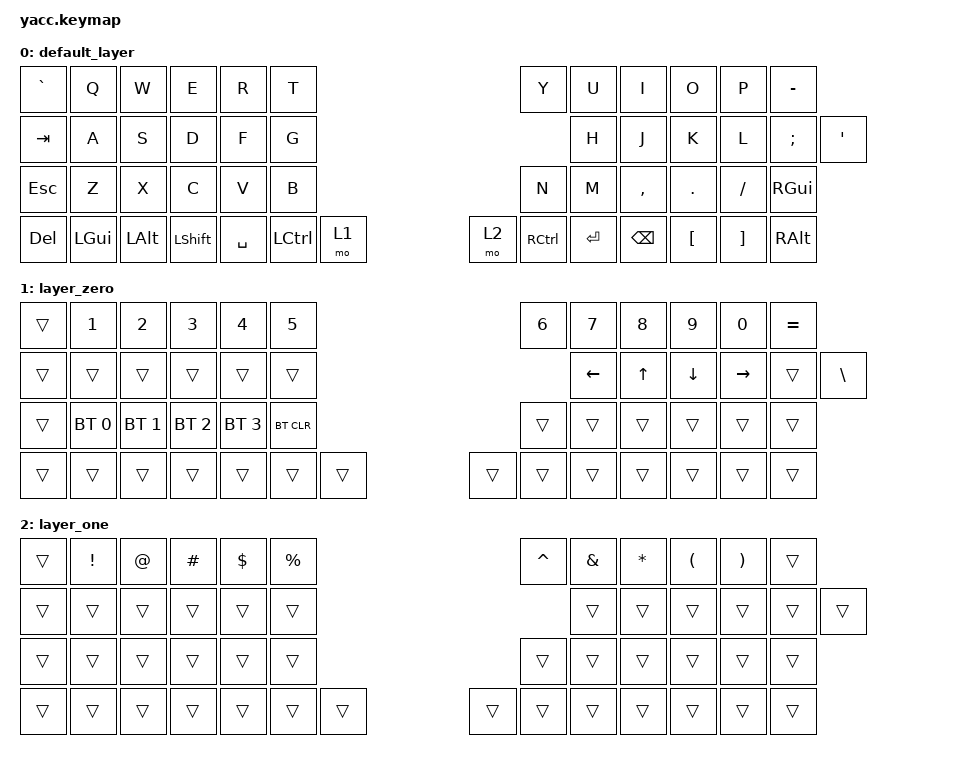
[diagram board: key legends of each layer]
#include <behaviors.dtsi>
#include <dt-bindings/zmk/keys.h>
#include <dt-bindings/zmk/bt.h>
#include <dt-bindings/zmk/ext_power.h>

/ {
        keymap {
            compatible = "zmk,keymap";

            default_layer {
// | `|~ |  q  |  w  |  e  |  r  |  t  |                                        |  y  |  u  |  i  |  o  |  p  | -|_ |
// | TAB |  a  |  s  |  d  |  f  |  g  |                                        |  h  |  j  |  k  |  l  | ;|: | '|" |
// | ESC |  z  |  x  |  c  |  v  |  b  |                                        |  n  |  m  | ,|< | .|> | /|? | GUI |
// | DEL | GUI | ALT | SFT | SPC | CTL | MO1 |                            | MO2 | CTL | ENT | BPC | [|{ | ]|} | ALT |
            
            bindings = <
&kp GRAVE &kp  Q  &kp  W  &kp  E  &kp  R  &kp  T                                  &kp  Y  &kp  U  &kp  I  &kp  O  &kp  P  &kp MINUS
&kp TAB   &kp  A  &kp  S  &kp  D  &kp  F  &kp  G                                  &kp  H  &kp  J  &kp  K  &kp  L  &kp SEMI &kp SQT    
&kp ESC   &kp  Z  &kp  X  &kp  C  &kp  V  &kp  B                                  &kp  N  &kp  M  &kp COMMA &kp DOT &kp FSLH &kp RGUI    
&kp DEL &kp LGUI &kp LALT &kp LSHIFT &kp SPACE &kp LCTRL &mo 1          &mo 2     &kp RCTL &kp RET &kp BSPC &kp LBKT &kp RBKT &kp RALT    

        >;
        };

        layer_zero {
// | ___ | _1_ | _2_ | _3_ | _4_ | _5_ |                                        | _6_ | _7_ | _8_ | _9_ | _0_ | =|+ |
// | ___ | ___ | ___ | ___ | ___ | ___ |                                        | < - | _^_ | _v_ | - > | ___ | \|| |
// | ___ | BT0 | BT1 | BT2 | BT3 | BTC |                                        | ___ | ___ | ___ | ___ | ___ | ___ |
// | ___ | ___ | ___ | ___ | ___ | ___ | ___ |                            | ___ | ___ | ___ | ___ | ___ | ___ | ___ |
            
            bindings = <
&trans &kp N1 &kp N2 &kp N3 &kp N4 &kp N5                             &kp N6 &kp N7 &kp N8 &kp N9 &kp N0 &kp EQUAL
&trans &trans &trans &trans &trans &trans                             &kp LEFT &kp UP &kp DOWN &kp RIGHT &trans &kp BSLH    
&trans &bt BT_SEL 0 &bt BT_SEL 1 &bt BT_SEL 2 &bt BT_SEL 3 &bt BT_CLR &trans &trans &trans &trans &trans &trans
&trans &trans &trans &trans &trans &trans &trans               &trans &trans &trans &trans &trans &trans &trans    

        >;
        };

        layer_one {
// | ___ | _!_ | _@_ | _#_ | _$_ | _%_ |                                        | _^_ | _&_ | _*_ | _(_ | _)_ | ___ |
// | ___ | ___ | ___ | ___ | ___ | ___ |                                        | ___ | ___ | ___ | ___ | ___ | ___ |
// | ___ | ___ | ___ | ___ | ___ | ___ |                                        | ___ | ___ | ___ | ___ | ___ | ___ |
// | ___ | ___ | ___ | ___ | ___ | ___ | ___ |                            | ___ | ___ | ___ | ___ | ___ | ___ | ___ |
            
            bindings = <
&trans &kp EXCL &kp AT &kp HASH &kp DLLR &kp PRCNT                    &kp CARET &kp AMPS &kp STAR &kp LPAR &kp RPAR &trans
&trans &trans &trans &trans &trans &trans                             &trans &trans &trans &trans &trans &trans   
&trans &trans &trans &trans &trans &trans                             &trans &trans &trans &trans &trans &trans
&trans &trans &trans &trans &trans &trans &trans               &trans &trans &trans &trans &trans &trans &trans    

        >;
        };
    };
        
};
